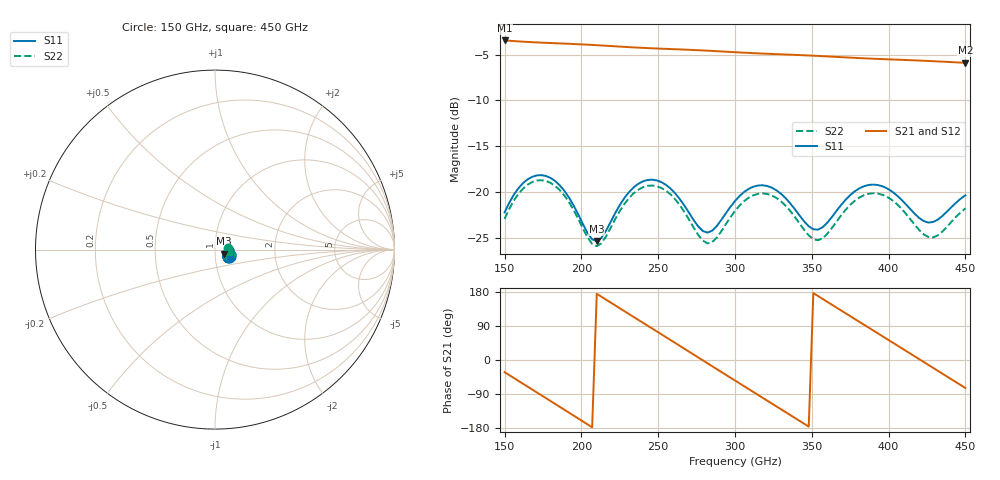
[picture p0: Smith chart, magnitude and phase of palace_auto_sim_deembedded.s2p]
! Created with skrf 1.11.0 (http://scikit-rf.org).
# GHz S DB R 50.0
!freq dBS11 angS11 dBS21 angS21 dBS12 angS12 dBS22 angS22
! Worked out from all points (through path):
!   101 points, 150 GHz to 450 GHz, reference 50 ohm
!   highest |S21| = -3.47 dB at 150 GHz (marker M1); lowest = -5.9 dB at 450 GHz (marker M2)
!   group delay of S21, straight-line fit = 7.05 ps
!   lowest |S11| = -25.3 dB at 210 GHz (marker M3), VSWR 1.11, Z = 55.1 - j2.56 ohm
!   |S11| at or under -10 dB: start of sweep to end of sweep
!   |S22| runs from -25.9 to -18.7 dB; largest |S21 - S12| = 1e-13
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150  -22.20 0.1  -3.47 -32.2  -3.47 -32.2  -22.91 7.4
162  -19.02 -8.8  -3.60 -62.7  -3.60 -62.7  -19.61 -0.9
174  -18.15 -25.7  -3.70 -93.2  -3.70 -93.2  -18.70 -17.3
186  -19.27 -42.0  -3.79 -123.8  -3.79 -123.8  -19.80 -33.1
201  -23.49 -46.3  -3.90 -162.2  -3.90 -162.2  -23.96 -37.3
210  -25.34 -25.3  -3.98 174.8  -3.98 174.8  -25.89 -16.6
231  -19.99 -9.4  -4.19 121.2  -4.19 121.2  -20.64 0.8
252  -18.90 -35.2  -4.36 68.0  -4.36 68.0  -19.54 -24.5
276  -23.73 -41.5  -4.53 6.9  -4.53 6.9  -24.65 -31.8
285  -24.22 -23.7  -4.61 -16.1  -4.61 -16.1  -25.47 -12.2
300  -20.97 -14.3  -4.75 -54.2  -4.75 -54.2  -22.05 0.2
312  -19.40 -24.6  -4.85 -84.5  -4.85 -84.5  -20.34 -9.6
324  -19.51 -37.9  -4.94 -114.9  -4.94 -114.9  -20.36 -22.9
339  -21.87 -47.0  -5.04 -152.9  -5.04 -152.9  -22.71 -32.7
351  -24.05 -35.2  -5.13 176.6  -5.13 176.6  -25.12 -21.3
363  -22.73 -17.7  -5.23 146.1  -5.23 146.1  -23.93 -1.8
378  -19.91 -21.2  -5.36 108.2  -5.36 108.2  -20.94 -4.5
390  -19.17 -33.0  -5.46 77.9  -5.46 77.9  -20.12 -16.6
402  -19.90 -44.3  -5.54 47.6  -5.54 47.6  -20.83 -28.7
414  -21.83 -47.9  -5.61 17.2  -5.61 17.2  -22.92 -33.9
426  -23.31 -36.8  -5.70 -13.2  -5.70 -13.2  -24.90 -22.5
450  -20.34 -26.7  -5.90 -73.8  -5.90 -73.8  -21.77 -8.6
